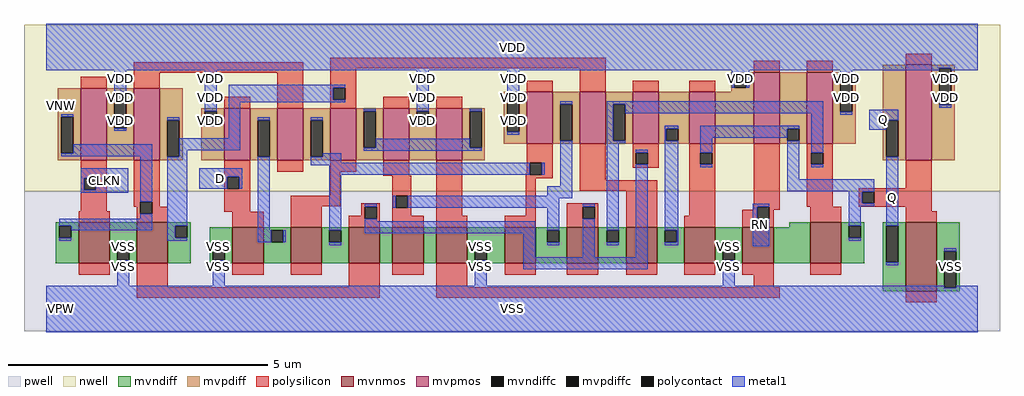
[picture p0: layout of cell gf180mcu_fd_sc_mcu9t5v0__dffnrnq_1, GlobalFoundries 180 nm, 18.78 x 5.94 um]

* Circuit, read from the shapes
.subckt gf180mcu_fd_sc_mcu9t5v0__dffnrnq_1 D RN CLKN Q VDD VNW VPW VSS
XM1 VSS CLKN n1 VPW nfet_06v0 w=0.79u l=0.6u
XM2 n2 n1 VSS VPW nfet_06v0 w=0.79u l=0.6u
XM3 n3 D VSS VPW nfet_06v0 w=0.7u l=0.6u
XM4 n4 n2 n3 VPW nfet_06v0 w=0.7u l=0.6u
XM5 n5 n1 n4 VPW nfet_06v0 w=0.7u l=0.6u
XM6 n6 n7 n5 VPW nfet_06v0 w=0.7u l=0.6u
XM7 VSS RN n6 VPW nfet_06v0 w=0.7u l=0.6u
XM8 n7 n4 VSS VPW nfet_06v0 w=0.7u l=0.6u
XM9 n8 n1 n7 VPW nfet_06v0 w=0.7u l=0.6u
XM10 n9 n2 n8 VPW nfet_06v0 w=0.7u l=0.6u
XM11 VSS n10 n9 VPW nfet_06v0 w=0.7u l=0.6u
XM12 n11 RN VSS VPW nfet_06v0 w=0.7u l=0.6u
XM13 n10 n8 n11 VPW nfet_06v0 w=0.79u l=0.6u
XM14 VSS n10 Q VPW nfet_06v0 w=1.32u l=0.6u
XM15 VDD CLKN n1 VNW pfet_06v0 w=1.38u l=0.5u
XM16 n2 n1 VDD VNW pfet_06v0 w=1.38u l=0.5u
XM17 n3 D VDD VNW pfet_06v0 w=1u l=0.5u
XM18 n4 n1 n3 VNW pfet_06v0 w=1u l=0.5u
XM19 n12 n2 n4 VNW pfet_06v0 w=1u l=0.5u
XM20 VDD n7 n12 VNW pfet_06v0 w=1u l=0.5u
XM21 n12 RN VDD VNW pfet_06v0 w=1u l=0.5u
XM22 n7 n4 VDD VNW pfet_06v0 w=1u l=0.5u
XM23 n8 n2 n7 VNW pfet_06v0 w=1u l=0.5u
XM24 n9 n1 n8 VNW pfet_06v0 w=1u l=0.5u
XM25 VDD n10 n9 VNW pfet_06v0 w=1u l=0.5u
XM26 n10 RN VDD VNW pfet_06v0 w=1.38u l=0.5u
XM27 VDD n8 n10 VNW pfet_06v0 w=1.38u l=0.5u
XM28 VDD n10 Q VNW pfet_06v0 w=1.83u l=0.5u
.ends

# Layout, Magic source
magic
tech gf180mcuD
magscale 1 10
<< nwell >>
rect -86 453 3670 1094
<< pwell >>
rect -86 -86 3670 453
<< mvnmos >>
rect 124 175 244 333
rect 348 175 468 333
rect 716 175 836 315
rect 940 175 1060 315
rect 1164 175 1284 315
rect 1332 175 1452 315
rect 1500 175 1620 315
rect 1764 175 1884 315
rect 2003 175 2123 315
rect 2231 175 2351 315
rect 2455 175 2575 315
rect 2679 175 2799 315
rect 2939 175 3059 333
rect 3307 69 3427 333
<< mvpmos >>
rect 132 573 232 849
rect 336 573 436 849
rect 684 573 784 773
rect 888 573 988 773
rect 1092 573 1192 773
rect 1296 573 1396 773
rect 1500 573 1600 773
rect 1848 635 1948 835
rect 2052 635 2152 835
rect 2256 635 2356 835
rect 2475 635 2575 835
rect 2723 635 2823 911
rect 2927 635 3027 911
rect 3307 573 3407 939
<< mvndiff >>
rect 36 320 124 333
rect 36 274 49 320
rect 95 274 124 320
rect 36 175 124 274
rect 244 234 348 333
rect 244 188 273 234
rect 319 188 348 234
rect 244 175 348 188
rect 468 320 556 333
rect 468 274 497 320
rect 543 274 556 320
rect 2859 315 2939 333
rect 468 175 556 274
rect 628 234 716 315
rect 628 188 641 234
rect 687 188 716 234
rect 628 175 716 188
rect 836 302 940 315
rect 836 256 865 302
rect 911 256 940 302
rect 836 175 940 256
rect 1060 302 1164 315
rect 1060 256 1089 302
rect 1135 256 1164 302
rect 1060 175 1164 256
rect 1284 175 1332 315
rect 1452 175 1500 315
rect 1620 234 1764 315
rect 1620 188 1649 234
rect 1695 188 1764 234
rect 1620 175 1764 188
rect 1884 302 2003 315
rect 1884 256 1927 302
rect 1973 256 2003 302
rect 1884 175 2003 256
rect 2123 302 2231 315
rect 2123 256 2156 302
rect 2202 256 2231 302
rect 2123 175 2231 256
rect 2351 302 2455 315
rect 2351 256 2380 302
rect 2426 256 2455 302
rect 2351 175 2455 256
rect 2575 234 2679 315
rect 2575 188 2604 234
rect 2650 188 2679 234
rect 2575 175 2679 188
rect 2799 175 2939 315
rect 3059 320 3147 333
rect 3059 274 3088 320
rect 3134 274 3147 320
rect 3059 175 3147 274
rect 3219 320 3307 333
rect 3219 180 3232 320
rect 3278 180 3307 320
rect 3219 69 3307 180
rect 3427 222 3515 333
rect 3427 82 3456 222
rect 3502 82 3515 222
rect 3427 69 3515 82
<< mvpdiff >>
rect 44 739 132 849
rect 44 599 57 739
rect 103 599 132 739
rect 44 573 132 599
rect 232 836 336 849
rect 232 696 261 836
rect 307 696 336 836
rect 232 573 336 696
rect 436 726 524 849
rect 2635 898 2723 911
rect 2635 852 2648 898
rect 2694 852 2723 898
rect 2635 835 2723 852
rect 1760 822 1848 835
rect 436 586 465 726
rect 511 586 524 726
rect 436 573 524 586
rect 596 760 684 773
rect 596 714 609 760
rect 655 714 684 760
rect 596 573 684 714
rect 784 726 888 773
rect 784 586 813 726
rect 859 586 888 726
rect 784 573 888 586
rect 988 726 1092 773
rect 988 586 1017 726
rect 1063 586 1092 726
rect 988 573 1092 586
rect 1192 760 1296 773
rect 1192 620 1221 760
rect 1267 620 1296 760
rect 1192 573 1296 620
rect 1396 760 1500 773
rect 1396 714 1425 760
rect 1471 714 1500 760
rect 1396 573 1500 714
rect 1600 760 1688 773
rect 1600 620 1629 760
rect 1675 620 1688 760
rect 1760 682 1773 822
rect 1819 682 1848 822
rect 1760 635 1848 682
rect 1948 788 2052 835
rect 1948 648 1977 788
rect 2023 648 2052 788
rect 1948 635 2052 648
rect 2152 788 2256 835
rect 2152 648 2181 788
rect 2227 648 2256 788
rect 2152 635 2256 648
rect 2356 694 2475 835
rect 2356 648 2385 694
rect 2431 648 2475 694
rect 2356 635 2475 648
rect 2575 635 2723 835
rect 2823 694 2927 911
rect 2823 648 2852 694
rect 2898 648 2927 694
rect 2823 635 2927 648
rect 3027 898 3115 911
rect 3027 758 3056 898
rect 3102 758 3115 898
rect 3027 635 3115 758
rect 3219 726 3307 939
rect 1600 573 1688 620
rect 3219 586 3232 726
rect 3278 586 3307 726
rect 3219 573 3307 586
rect 3407 926 3495 939
rect 3407 786 3436 926
rect 3482 786 3495 926
rect 3407 573 3495 786
<< mvndiffc >>
rect 49 274 95 320
rect 273 188 319 234
rect 497 274 543 320
rect 641 188 687 234
rect 865 256 911 302
rect 1089 256 1135 302
rect 1649 188 1695 234
rect 1927 256 1973 302
rect 2156 256 2202 302
rect 2380 256 2426 302
rect 2604 188 2650 234
rect 3088 274 3134 320
rect 3232 180 3278 320
rect 3456 82 3502 222
<< mvpdiffc >>
rect 57 599 103 739
rect 261 696 307 836
rect 2648 852 2694 898
rect 465 586 511 726
rect 609 714 655 760
rect 813 586 859 726
rect 1017 586 1063 726
rect 1221 620 1267 760
rect 1425 714 1471 760
rect 1629 620 1675 760
rect 1773 682 1819 822
rect 1977 648 2023 788
rect 2181 648 2227 788
rect 2385 648 2431 694
rect 2852 648 2898 694
rect 3056 758 3102 898
rect 3232 586 3278 726
rect 3436 786 3482 926
<< polysilicon >>
rect 336 909 988 949
rect 132 849 232 893
rect 336 849 436 909
rect 684 773 784 817
rect 888 773 988 909
rect 1092 927 2152 967
rect 1092 852 1192 927
rect 1092 806 1105 852
rect 1151 806 1192 852
rect 1848 835 1948 879
rect 2052 835 2152 927
rect 2723 911 2823 955
rect 2927 911 3027 955
rect 3307 939 3407 983
rect 2256 835 2356 879
rect 2475 835 2575 879
rect 1092 773 1192 806
rect 1296 773 1396 817
rect 1500 773 1600 817
rect 132 504 232 573
rect 132 458 145 504
rect 191 458 232 504
rect 132 377 232 458
rect 336 412 436 573
rect 336 393 361 412
rect 124 333 244 377
rect 348 366 361 393
rect 407 393 436 412
rect 684 508 784 573
rect 888 529 988 573
rect 1092 529 1192 573
rect 684 462 697 508
rect 743 462 784 508
rect 407 366 468 393
rect 684 375 784 462
rect 1092 435 1132 529
rect 1296 513 1396 573
rect 940 395 1132 435
rect 1332 436 1404 513
rect 348 333 468 366
rect 716 315 836 375
rect 940 315 1060 395
rect 1212 394 1284 407
rect 1212 359 1225 394
rect 1164 348 1225 359
rect 1271 348 1284 394
rect 1164 315 1284 348
rect 1332 390 1345 436
rect 1391 390 1404 436
rect 1332 359 1404 390
rect 1500 359 1600 573
rect 1848 563 1948 635
rect 1848 522 1861 563
rect 1844 517 1861 522
rect 1907 517 1948 563
rect 1844 504 1948 517
rect 1844 359 1884 504
rect 2052 495 2152 635
rect 2256 602 2356 635
rect 2256 556 2269 602
rect 2315 556 2356 602
rect 2256 543 2356 556
rect 2475 602 2575 635
rect 2475 556 2516 602
rect 2562 556 2575 602
rect 2052 455 2351 495
rect 1332 315 1452 359
rect 1500 315 1620 359
rect 1764 315 1884 359
rect 2003 394 2123 407
rect 2003 348 2064 394
rect 2110 348 2123 394
rect 2003 315 2123 348
rect 2231 315 2351 455
rect 2475 359 2575 556
rect 2723 394 2823 635
rect 2723 381 2736 394
rect 2455 315 2575 359
rect 2679 348 2736 381
rect 2782 381 2823 394
rect 2927 602 3027 635
rect 2927 556 2944 602
rect 2990 556 3027 602
rect 2927 393 3027 556
rect 3307 465 3407 573
rect 3127 452 3407 465
rect 3127 406 3140 452
rect 3186 406 3407 452
rect 3127 393 3407 406
rect 2782 348 2799 381
rect 2679 315 2799 348
rect 2939 333 3059 393
rect 3307 377 3407 393
rect 3307 333 3427 377
rect 124 131 244 175
rect 348 83 468 175
rect 716 131 836 175
rect 940 131 1060 175
rect 1164 83 1284 175
rect 1332 131 1452 175
rect 348 43 1284 83
rect 1500 83 1620 175
rect 1764 131 1884 175
rect 2003 131 2123 175
rect 2231 131 2351 175
rect 2455 131 2575 175
rect 2679 131 2799 175
rect 2939 131 3059 175
rect 2723 83 2799 131
rect 1500 43 2823 83
rect 3307 25 3427 69
<< polycontact >>
rect 1105 806 1151 852
rect 145 458 191 504
rect 361 366 407 412
rect 697 462 743 508
rect 1225 348 1271 394
rect 1345 390 1391 436
rect 1861 517 1907 563
rect 2269 556 2315 602
rect 2516 556 2562 602
rect 2064 348 2110 394
rect 2736 348 2782 394
rect 2944 556 2990 602
rect 3140 406 3186 452
<< metal1 >>
rect 0 926 3584 1098
rect 0 918 3436 926
rect 261 836 307 918
rect 57 739 103 750
rect 609 760 655 918
rect 261 685 307 696
rect 465 726 511 737
rect 103 599 407 634
rect 57 588 407 599
rect 133 504 315 542
rect 133 458 145 504
rect 191 458 315 504
rect 133 447 315 458
rect 361 412 407 588
rect 361 348 407 366
rect 49 320 407 348
rect 95 302 407 320
rect 609 703 655 714
rect 701 852 1151 863
rect 701 806 1105 852
rect 701 795 1151 806
rect 701 657 747 795
rect 1221 760 1267 771
rect 511 611 747 657
rect 813 726 859 737
rect 511 586 543 611
rect 465 320 543 586
rect 589 508 754 542
rect 589 462 697 508
rect 743 462 754 508
rect 49 263 95 274
rect 465 274 497 320
rect 465 263 543 274
rect 813 302 859 586
rect 1017 726 1063 737
rect 1425 760 1471 918
rect 1773 822 1819 918
rect 2637 898 2705 918
rect 2637 852 2648 898
rect 2694 852 2705 898
rect 3056 898 3102 918
rect 1425 703 1471 714
rect 1629 760 1675 771
rect 1267 620 1629 655
rect 1773 671 1819 682
rect 1977 788 2023 799
rect 1221 609 1675 620
rect 1063 586 1134 599
rect 1017 563 1134 586
rect 1017 553 1861 563
rect 1089 517 1861 553
rect 1907 517 1918 563
rect 1089 302 1135 517
rect 1977 472 2023 648
rect 1928 436 2023 472
rect 813 256 865 302
rect 911 256 922 302
rect 1225 394 1271 405
rect 1334 390 1345 436
rect 1391 426 2023 436
rect 2156 788 2990 799
rect 2156 648 2181 788
rect 2227 753 2990 788
rect 2156 637 2227 648
rect 2380 694 2431 705
rect 2380 648 2385 694
rect 1391 390 1973 426
rect 1225 337 1271 348
rect 1225 291 1881 337
rect 1089 245 1135 256
rect 273 234 319 245
rect 273 90 319 188
rect 641 234 687 245
rect 641 90 687 188
rect 1649 234 1695 245
rect 1649 90 1695 188
rect 1835 199 1881 291
rect 1927 302 1973 390
rect 1927 245 1973 256
rect 2064 394 2110 405
rect 2064 199 2110 348
rect 2156 302 2202 637
rect 2156 245 2202 256
rect 2269 602 2315 613
rect 2269 199 2315 556
rect 2380 302 2431 648
rect 2516 694 2898 705
rect 2516 659 2852 694
rect 2516 602 2562 659
rect 2516 545 2562 556
rect 2852 499 2898 648
rect 2944 602 2990 753
rect 3482 918 3584 926
rect 3436 775 3482 786
rect 3056 747 3102 758
rect 3166 726 3278 766
rect 3166 690 3232 726
rect 2944 545 2990 556
rect 2852 453 3186 499
rect 3088 452 3186 453
rect 3088 406 3140 452
rect 2426 256 2431 302
rect 2380 245 2431 256
rect 2718 394 2782 405
rect 2718 348 2736 394
rect 1835 153 2315 199
rect 2604 234 2650 245
rect 2718 242 2782 348
rect 3088 395 3186 406
rect 3088 320 3134 395
rect 3088 263 3134 274
rect 3232 320 3278 586
rect 2604 90 2650 188
rect 3232 169 3278 180
rect 3456 222 3502 233
rect 0 82 3456 90
rect 3502 82 3584 90
rect 0 -90 3584 82
<< labels >>
flabel metal1 s 133 447 315 542 0 FreeSans 200 0 0 0 CLKN
port 3 nsew clock input
flabel metal1 s 589 462 754 542 0 FreeSans 200 0 0 0 D
port 1 nsew default input
flabel metal1 s 3166 690 3278 766 0 FreeSans 200 0 0 0 Q
port 4 nsew default output
flabel metal1 s 2718 242 2782 405 0 FreeSans 200 0 0 0 RN
port 2 nsew default input
flabel metal1 s 0 918 3584 1098 0 FreeSans 200 0 0 0 VDD
port 5 nsew power bidirectional abutment
flabel metal1 s 2604 233 2650 245 0 FreeSans 200 0 0 0 VSS
port 8 nsew ground bidirectional abutment
flabel nwell s 10 734 110 834 0 FreeSans 400 0 0 0 VNW
port 6 nsew power bidirectional
flabel pwell s 10 -50 110 50 0 FreeSans 400 0 0 0 VPW
port 7 nsew ground bidirectional
rlabel metal1 s 3232 169 3278 690 1 Q
port 4 nsew default output
rlabel metal1 s 3436 852 3482 918 1 VDD
port 5 nsew power bidirectional abutment
rlabel metal1 s 3056 852 3102 918 1 VDD
port 5 nsew power bidirectional abutment
rlabel metal1 s 2637 852 2705 918 1 VDD
port 5 nsew power bidirectional abutment
rlabel metal1 s 1773 852 1819 918 1 VDD
port 5 nsew power bidirectional abutment
rlabel metal1 s 1425 852 1471 918 1 VDD
port 5 nsew power bidirectional abutment
rlabel metal1 s 609 852 655 918 1 VDD
port 5 nsew power bidirectional abutment
rlabel metal1 s 261 852 307 918 1 VDD
port 5 nsew power bidirectional abutment
rlabel metal1 s 3436 775 3482 852 1 VDD
port 5 nsew power bidirectional abutment
rlabel metal1 s 3056 775 3102 852 1 VDD
port 5 nsew power bidirectional abutment
rlabel metal1 s 1773 775 1819 852 1 VDD
port 5 nsew power bidirectional abutment
rlabel metal1 s 1425 775 1471 852 1 VDD
port 5 nsew power bidirectional abutment
rlabel metal1 s 609 775 655 852 1 VDD
port 5 nsew power bidirectional abutment
rlabel metal1 s 261 775 307 852 1 VDD
port 5 nsew power bidirectional abutment
rlabel metal1 s 3056 747 3102 775 1 VDD
port 5 nsew power bidirectional abutment
rlabel metal1 s 1773 747 1819 775 1 VDD
port 5 nsew power bidirectional abutment
rlabel metal1 s 1425 747 1471 775 1 VDD
port 5 nsew power bidirectional abutment
rlabel metal1 s 609 747 655 775 1 VDD
port 5 nsew power bidirectional abutment
rlabel metal1 s 261 747 307 775 1 VDD
port 5 nsew power bidirectional abutment
rlabel metal1 s 1773 703 1819 747 1 VDD
port 5 nsew power bidirectional abutment
rlabel metal1 s 1425 703 1471 747 1 VDD
port 5 nsew power bidirectional abutment
rlabel metal1 s 609 703 655 747 1 VDD
port 5 nsew power bidirectional abutment
rlabel metal1 s 261 703 307 747 1 VDD
port 5 nsew power bidirectional abutment
rlabel metal1 s 1773 685 1819 703 1 VDD
port 5 nsew power bidirectional abutment
rlabel metal1 s 261 685 307 703 1 VDD
port 5 nsew power bidirectional abutment
rlabel metal1 s 1773 671 1819 685 1 VDD
port 5 nsew power bidirectional abutment
rlabel metal1 s 1649 233 1695 245 1 VSS
port 8 nsew ground bidirectional abutment
rlabel metal1 s 641 233 687 245 1 VSS
port 8 nsew ground bidirectional abutment
rlabel metal1 s 273 233 319 245 1 VSS
port 8 nsew ground bidirectional abutment
rlabel metal1 s 3456 90 3502 233 1 VSS
port 8 nsew ground bidirectional abutment
rlabel metal1 s 2604 90 2650 233 1 VSS
port 8 nsew ground bidirectional abutment
rlabel metal1 s 1649 90 1695 233 1 VSS
port 8 nsew ground bidirectional abutment
rlabel metal1 s 641 90 687 233 1 VSS
port 8 nsew ground bidirectional abutment
rlabel metal1 s 273 90 319 233 1 VSS
port 8 nsew ground bidirectional abutment
rlabel metal1 s 0 -90 3584 90 1 VSS
port 8 nsew ground bidirectional abutment
<< properties >>
string FIXED_BBOX 0 0 3584 1008
string GDS_END 1518830
string GDS_FILE $PDKPATH/libs.ref/gf180mcu_fd_sc_mcu9t5v0/gds/gf180mcu_fd_sc_mcu9t5v0.gds
string GDS_START 1509914
string LEFclass core
string LEFsite GF018hv5v_green_sc9
string LEFsymmetry X Y
<< end >>
